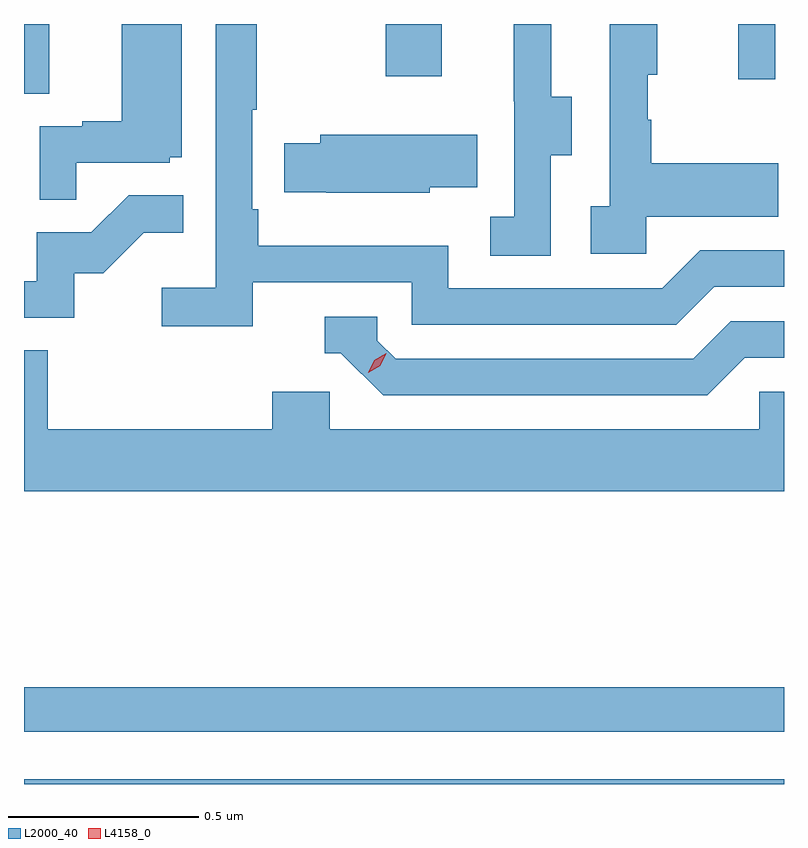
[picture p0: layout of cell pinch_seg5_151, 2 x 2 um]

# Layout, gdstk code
import gdstk
lib = gdstk.Library(unit=1e-6, precision=1e-09)
def R(c, l, rs):  # rectangles x0, y0, x1, y1
    for r in rs: c.add(gdstk.rectangle(r[:2], r[2:], *l))
def P(c, l, *ps):  # polygons
    for p in ps: c.add(gdstk.Polygon(p, *l))
L2000_40 = (2000, 40)
L4158_0 = (4158, 0)

pinch_seg5_151 = lib.new_cell('pinch_seg5_151')
R(pinch_seg5_151, L2000_40, [(1078.404,878.634,1080.404,878.646), (1078.404,878.772,1080.404,878.888), (1078.404,880.45,1078.471,880.634), (1080.284,880.488,1080.381,880.634), (1079.356,880.497,1079.503,880.634)])
P(pinch_seg5_151, L2000_40, [(1080.042,880.127),(1080.389,880.127),(1080.389,880.267),(1080.055,880.267),(1080.055,880.382),(1080.045,880.382),(1080.045,880.5),(1080.07,880.5),(1080.07,880.634),(1079.946,880.634),(1079.946,880.154),(1079.895,880.154),(1079.895,880.029),(1080.042,880.029)],
  [(1079.006,879.954),(1079.424,879.954),(1079.424,879.843),(1080.121,879.843),(1080.22,879.942),(1080.404,879.942),(1080.404,880.038),(1080.183,880.038),(1080.084,879.939),(1079.52,879.939),(1079.52,880.051),(1079.021,880.051),(1079.021,880.147),(1079.004,880.147),(1079.004,880.408),(1079.017,880.408),(1079.017,880.634),(1078.908,880.634),(1078.908,879.94),(1078.767,879.94),(1078.767,879.838),(1079.006,879.838)],
  [(1079.79,880.288),(1079.845,880.288),(1079.845,880.443),(1079.791,880.443),(1079.791,880.634),(1079.693,880.634),(1079.693,880.431),(1079.694,880.431),(1079.694,880.127),(1079.631,880.127),(1079.631,880.024),(1079.79,880.024)],
  [(1078.541,880.269),(1078.788,880.269),(1078.788,880.284),(1078.819,880.284),(1078.819,880.633),(1078.661,880.633),(1078.661,880.378),(1078.557,880.378),(1078.557,880.365),(1078.446,880.365),(1078.446,880.171),(1078.541,880.171)],
  [(1079.472,880.205),(1079.597,880.205),(1079.597,880.342),(1079.183,880.342),(1079.183,880.32),(1079.089,880.32),(1079.089,880.191),(1079.2,880.191),(1079.2,880.19),(1079.472,880.19)],
  [(1078.536,879.978),(1078.612,879.978),(1078.719,880.085),(1078.823,880.085),(1078.823,880.184),(1078.679,880.184),(1078.581,880.086),(1078.437,880.086),(1078.437,879.957),(1078.404,879.957),(1078.404,879.861),(1078.536,879.861)],
  [(1080.301,879.756),(1080.404,879.756),(1080.404,879.852),(1080.264,879.852),(1080.165,879.753),(1079.382,879.753),(1079.334,879.801),(1079.334,879.864),(1079.195,879.864),(1079.195,879.768),(1079.238,879.768),(1079.349,879.657),(1080.202,879.657)],
  [(1080.404,879.666),(1080.339,879.666),(1080.339,879.568),(1079.208,879.568),(1079.208,879.666),(1079.057,879.666),(1079.057,879.568),(1078.466,879.568),(1078.466,879.776),(1078.404,879.776),(1078.404,879.404),(1080.404,879.404)])
P(pinch_seg5_151, L4158_0, [(1079.31,879.716),(1079.31,879.716),(1079.326,879.749),(1079.357,879.768),(1079.357,879.768),(1079.357,879.768),(1079.341,879.735),(1079.31,879.716)])

lib.write_gds('pinch_seg5_151.gds')
